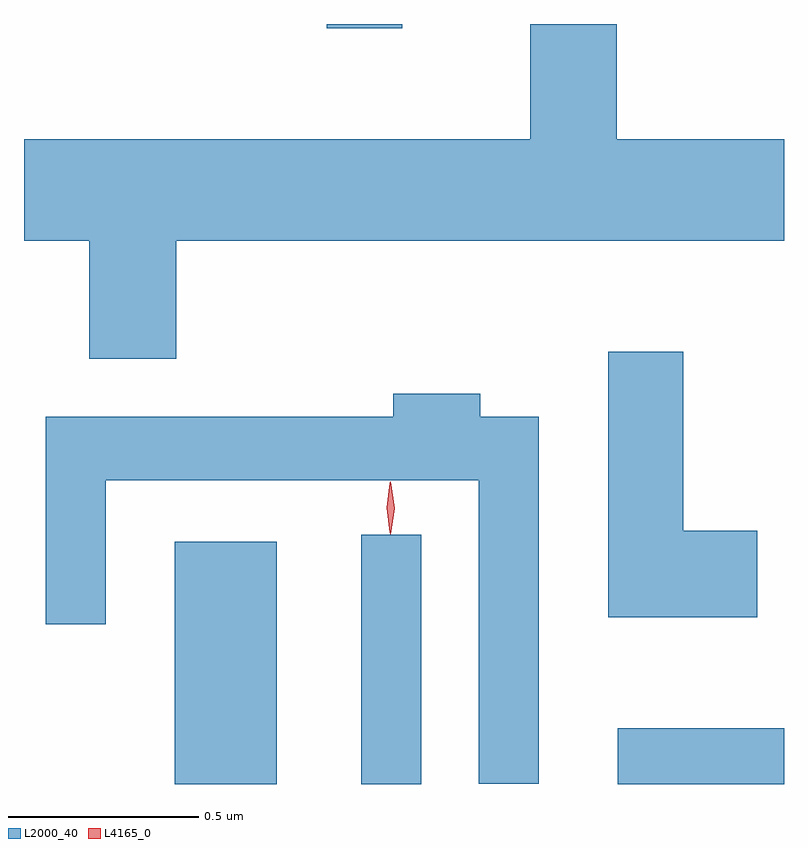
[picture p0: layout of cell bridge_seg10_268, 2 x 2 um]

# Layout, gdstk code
import gdstk
lib = gdstk.Library(unit=1e-6, precision=1e-09)
def R(c, l, rs):  # rectangles x0, y0, x1, y1
    for r in rs: c.add(gdstk.rectangle(r[:2], r[2:], *l))
def P(c, l, *ps):  # polygons
    for p in ps: c.add(gdstk.Polygon(p, *l))
L2000_40 = (2000, 40)
L4165_0 = (4165, 0)

bridge_seg10_268 = lib.new_cell('bridge_seg10_268')
R(bridge_seg10_268, L2000_40, [(1790.726,2096.947,1790.994,2097.584), (1791.216,2096.947,1791.374,2097.603), (1791.891,2096.947,1792.329,2097.094), (1791.126,2098.936,1791.324,2098.947)])
P(bridge_seg10_268, L2000_40, [(1790.729,2098.376),(1792.329,2098.376),(1792.329,2098.644),(1791.889,2098.644),(1791.889,2098.947),(1791.661,2098.947),(1791.661,2098.644),(1790.329,2098.644),(1790.329,2098.376),(1790.501,2098.376),(1790.501,2098.066),(1790.729,2098.066)],
  [(1792.259,2097.614),(1792.064,2097.614),(1792.064,2098.084),(1791.866,2098.084),(1791.866,2097.386),(1792.259,2097.386)],
  [(1791.684,2097.914),(1791.529,2097.914),(1791.529,2097.974),(1791.301,2097.974),(1791.301,2097.914),(1790.386,2097.914),(1790.386,2097.368),(1790.544,2097.368),(1790.544,2097.746),(1791.526,2097.746),(1791.526,2096.948),(1791.684,2096.948)])
P(bridge_seg10_268, L4165_0, [(1791.293,2097.607),(1791.292,2097.608),(1791.283,2097.674),(1791.292,2097.74),(1791.292,2097.74),(1791.293,2097.74),(1791.302,2097.674),(1791.293,2097.608)],
  [(1791.293,2097.604),(1791.284,2097.673),(1791.293,2097.742),(1791.294,2097.743),(1791.294,2097.742),(1791.304,2097.673),(1791.294,2097.604),(1791.294,2097.604)])

lib.write_gds('bridge_seg10_268.gds')
